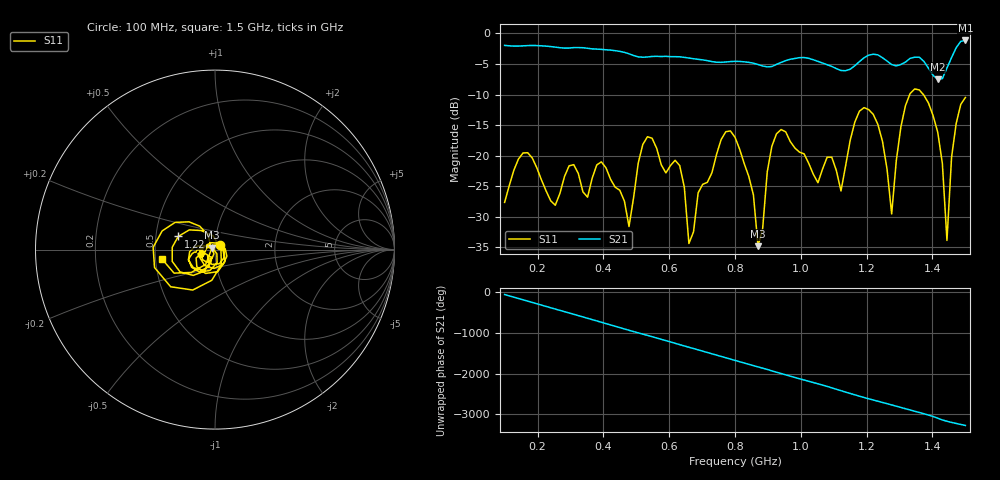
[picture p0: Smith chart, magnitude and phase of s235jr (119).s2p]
! NanoVNA-App
! Date: 2025-09-26 09:45:43
! Start: 100MHz Stop: 1,5GHz Points: 101
! S-Parameter data: F S11 S21 S12 S22
# Hz S RI R 50
!  Frequency  S11_Real  S11_Imag  S21_Real  S21_Imag  S12_Real  S12_Imag  S22_Real  S22_Imag
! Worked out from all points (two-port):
!   101 points, 100 MHz to 1.5 GHz, reference 50 ohm
!   highest |S21| = -1.15 dB at 1.5 GHz (marker M1); lowest = -7.5 dB at 1.416 GHz (marker M2)
!   |S21| within 3 dB of the highest: start of sweep to 675.3 MHz; 1.188 GHz to 1.253 GHz (64.32 MHz wide, 5.27 % of centre) (the widest 2 of 5)
!   lowest |S11| = -34.8 dB at 870 MHz (marker M3), VSWR 1.04, Z = 48.5 + j0.963 ohm
!   |S11| at or under -10 dB: start of sweep to 1.331 GHz; 1.372 GHz to end of sweep
!   S12 and S22 are empty: the file has one direction only
!   S11 on the Smith chart (normalised r, x): 100 MHz: 1.06, +0.06; 1.22 GHz: 0.65, +0.10; 1.5 GHz: 0.54, -0.06
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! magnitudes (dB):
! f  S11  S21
! 100 MHz  -27.6  -2.0
! 156 MHz  -19.6  -2.0
! 338 MHz  -25.9  -2.3
! 394 MHz  -21.0  -2.6
! 478 MHz  -31.6  -3.3
! 520 MHz  -18.2  -3.9
! 576 MHz  -21.5  -3.8
! 632 MHz  -21.6  -3.8
! 660 MHz  -34.4  -4.0
! 800 MHz  -17.0  -4.6
! 870 MHz  -34.8  -5.1
! 926 MHz  -16.4  -5.1
! 1.038 GHz  -23.0  -4.3
! 1.122 GHz  -25.8  -6.1
! 1.164 GHz  -14.5  -5.3
! 1.22 GHz  -13.2  -3.4
! 1.276 GHz  -29.5  -5.1
! 1.332 GHz  -9.8  -4.1
! 1.416 GHz  -16.2  -7.5
! 1.444 GHz  -33.9  -5.7
! 1.458 GHz  -20.2  -4.0
! 1.5 GHz  -10.5  -1.2
